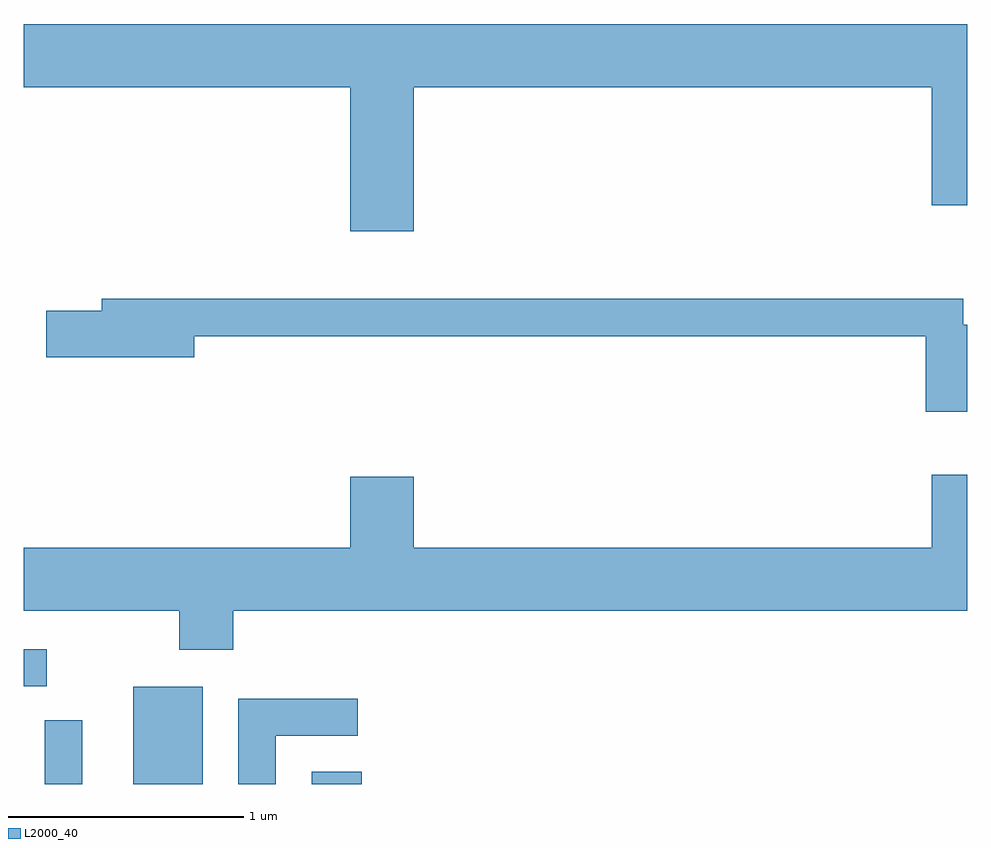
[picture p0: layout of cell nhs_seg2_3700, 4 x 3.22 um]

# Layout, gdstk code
import gdstk
lib = gdstk.Library(unit=1e-6, precision=1e-09)
def R(c, l, rs):  # rectangles x0, y0, x1, y1
    for r in rs: c.add(gdstk.rectangle(r[:2], r[2:], *l))
def P(c, l, *ps):  # polygons
    for p in ps: c.add(gdstk.Polygon(p, *l))
L2000_40 = (2000, 40)

nhs_seg2_3700 = lib.new_cell('nhs_seg2_3700')
R(nhs_seg2_3700, L2000_40, [(293.701,1049.802,293.859,1050.073), (294.076,1049.802,294.369,1050.214), (294.831,1049.802,295.044,1049.854), (293.611,1050.216,293.708,1050.374)])
P(nhs_seg2_3700, L2000_40, [(295.264,1052.756),(297.461,1052.756),(297.461,1052.256),(297.611,1052.256),(297.611,1053.024),(293.611,1053.024),(293.611,1052.756),(294.996,1052.756),(294.996,1052.146),(295.264,1052.146)],
  [(297.611,1051.749),(297.594,1051.749),(297.594,1051.859),(293.941,1051.859),(293.941,1051.809),(293.706,1051.809),(293.706,1051.611),(294.334,1051.611),(294.334,1051.701),(297.436,1051.701),(297.436,1051.381),(297.611,1051.381)],
  [(294.499,1050.536),(297.611,1050.536),(297.611,1051.114),(297.461,1051.114),(297.461,1050.804),(295.264,1050.804),(295.264,1051.104),(294.996,1051.104),(294.996,1050.804),(293.611,1050.804),(293.611,1050.536),(294.271,1050.536),(294.271,1050.371),(294.499,1050.371)],
  [(294.679,1050.006),(295.028,1050.006),(295.028,1050.164),(294.521,1050.164),(294.521,1049.802),(294.679,1049.802)])

lib.write_gds('nhs_seg2_3700.gds')
